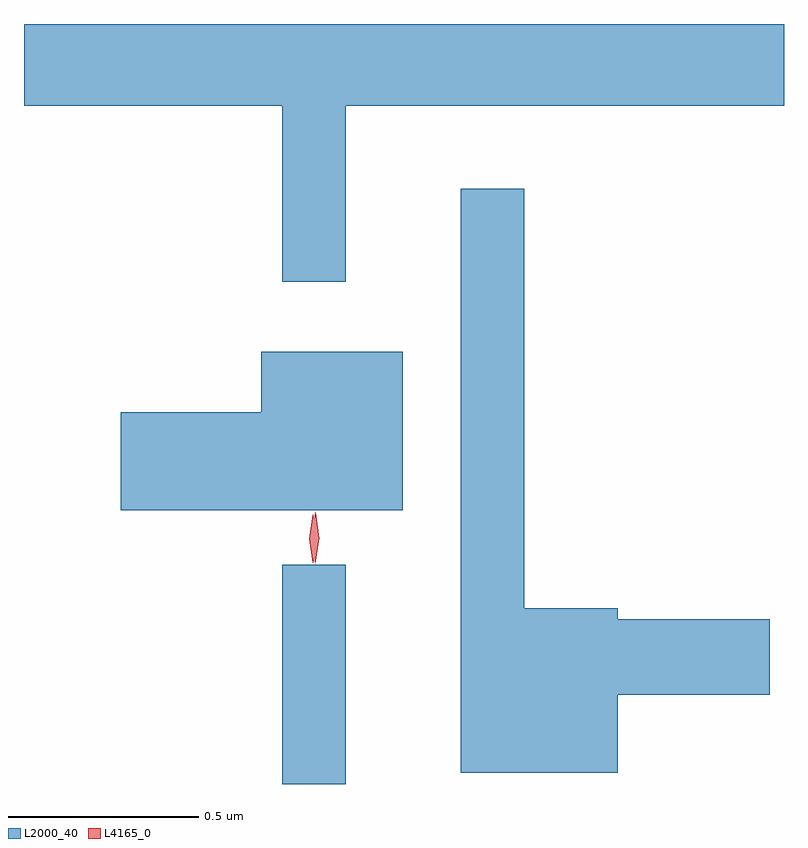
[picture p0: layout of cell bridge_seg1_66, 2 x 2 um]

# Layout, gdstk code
import gdstk
lib = gdstk.Library(unit=1e-6, precision=1e-09)
def R(c, l, rs):  # rectangles x0, y0, x1, y1
    for r in rs: c.add(gdstk.rectangle(r[:2], r[2:], *l))
def P(c, l, *ps):  # polygons
    for p in ps: c.add(gdstk.Polygon(p, *l))
L2000_40 = (2000, 40)
L4165_0 = (4165, 0)

bridge_seg1_66 = lib.new_cell('bridge_seg1_66')
R(bridge_seg1_66, L2000_40, [(1824.481,933.311,1824.649,933.888)])
P(bridge_seg1_66, L2000_40, [(1824.649,935.096),(1825.802,935.096),(1825.802,935.311),(1823.802,935.311),(1823.802,935.096),(1824.481,935.096),(1824.481,934.633),(1824.649,934.633)],
  [(1825.364,933.546),(1825.764,933.546),(1825.764,933.744),(1825.364,933.744),(1825.364,933.774),(1825.119,933.774),(1825.119,934.878),(1824.951,934.878),(1824.951,933.341),(1825.364,933.341)],
  [(1824.799,934.449),(1824.426,934.449),(1824.426,934.289),(1824.056,934.289),(1824.056,934.031),(1824.799,934.031)])
P(bridge_seg1_66, L4165_0, [(1824.562,933.893),(1824.553,933.956),(1824.562,934.019),(1824.563,934.02),(1824.563,934.019),(1824.573,933.956),(1824.563,933.893),(1824.563,933.893)],
  [(1824.568,933.89),(1824.568,933.89),(1824.559,933.958),(1824.569,934.025),(1824.569,934.026),(1824.57,934.025),(1824.579,933.958),(1824.568,933.89)])

lib.write_gds('bridge_seg1_66.gds')
